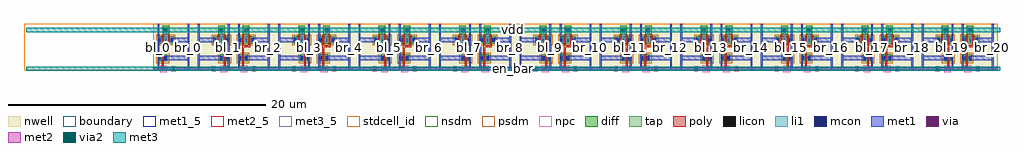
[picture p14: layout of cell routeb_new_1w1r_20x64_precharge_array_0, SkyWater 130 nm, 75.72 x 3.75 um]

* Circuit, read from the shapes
.subckt routeb_new_1w1r_20x64_precharge_array_0 bl_0 bl_1 bl_10 bl_11 bl_12 bl_13 bl_14 bl_15 bl_16 bl_17 bl_18 bl_19 bl_2 bl_20 bl_3 bl_4 bl_5 bl_6 bl_7 bl_8 bl_9 br_0 br_1 br_10 br_11 br_12 br_13 br_14 br_15 br_16 br_17 br_18 br_19 br_2 br_20 br_3 br_4 br_5 br_6 br_7 br_8 br_9 en_bar vdd
XM1 br_0 en_bar bl_0 vdd sky130_fd_pr__pfet_01v8 w=0.55 l=0.15
XM2 vdd en_bar bl_0 vdd sky130_fd_pr__pfet_01v8 w=0.55 l=0.15
XM3 br_0 en_bar vdd vdd sky130_fd_pr__pfet_01v8 w=0.55 l=0.15
XM4 vdd en_bar br_1 vdd sky130_fd_pr__pfet_01v8 w=0.55 l=0.15
XM5 bl_1 en_bar br_1 vdd sky130_fd_pr__pfet_01v8 w=0.55 l=0.15
XM6 bl_1 en_bar vdd vdd sky130_fd_pr__pfet_01v8 w=0.55 l=0.15
XM7 br_2 en_bar bl_2 vdd sky130_fd_pr__pfet_01v8 w=0.55 l=0.15
XM8 vdd en_bar bl_2 vdd sky130_fd_pr__pfet_01v8 w=0.55 l=0.15
XM9 br_2 en_bar vdd vdd sky130_fd_pr__pfet_01v8 w=0.55 l=0.15
XM10 vdd en_bar br_3 vdd sky130_fd_pr__pfet_01v8 w=0.55 l=0.15
XM11 bl_3 en_bar br_3 vdd sky130_fd_pr__pfet_01v8 w=0.55 l=0.15
XM12 bl_3 en_bar vdd vdd sky130_fd_pr__pfet_01v8 w=0.55 l=0.15
XM13 br_4 en_bar bl_4 vdd sky130_fd_pr__pfet_01v8 w=0.55 l=0.15
XM14 vdd en_bar bl_4 vdd sky130_fd_pr__pfet_01v8 w=0.55 l=0.15
XM15 br_4 en_bar vdd vdd sky130_fd_pr__pfet_01v8 w=0.55 l=0.15
XM16 vdd en_bar br_5 vdd sky130_fd_pr__pfet_01v8 w=0.55 l=0.15
XM17 bl_5 en_bar br_5 vdd sky130_fd_pr__pfet_01v8 w=0.55 l=0.15
XM18 bl_5 en_bar vdd vdd sky130_fd_pr__pfet_01v8 w=0.55 l=0.15
XM19 br_6 en_bar bl_6 vdd sky130_fd_pr__pfet_01v8 w=0.55 l=0.15
XM20 vdd en_bar bl_6 vdd sky130_fd_pr__pfet_01v8 w=0.55 l=0.15
XM21 br_6 en_bar vdd vdd sky130_fd_pr__pfet_01v8 w=0.55 l=0.15
XM22 vdd en_bar br_7 vdd sky130_fd_pr__pfet_01v8 w=0.55 l=0.15
XM23 bl_7 en_bar br_7 vdd sky130_fd_pr__pfet_01v8 w=0.55 l=0.15
XM24 bl_7 en_bar vdd vdd sky130_fd_pr__pfet_01v8 w=0.55 l=0.15
XM25 br_8 en_bar bl_8 vdd sky130_fd_pr__pfet_01v8 w=0.55 l=0.15
XM26 vdd en_bar bl_8 vdd sky130_fd_pr__pfet_01v8 w=0.55 l=0.15
XM27 br_8 en_bar vdd vdd sky130_fd_pr__pfet_01v8 w=0.55 l=0.15
XM28 vdd en_bar br_9 vdd sky130_fd_pr__pfet_01v8 w=0.55 l=0.15
XM29 bl_9 en_bar br_9 vdd sky130_fd_pr__pfet_01v8 w=0.55 l=0.15
XM30 bl_9 en_bar vdd vdd sky130_fd_pr__pfet_01v8 w=0.55 l=0.15
XM31 br_10 en_bar bl_10 vdd sky130_fd_pr__pfet_01v8 w=0.55 l=0.15
XM32 vdd en_bar bl_10 vdd sky130_fd_pr__pfet_01v8 w=0.55 l=0.15
XM33 br_10 en_bar vdd vdd sky130_fd_pr__pfet_01v8 w=0.55 l=0.15
XM34 vdd en_bar br_11 vdd sky130_fd_pr__pfet_01v8 w=0.55 l=0.15
XM35 bl_11 en_bar br_11 vdd sky130_fd_pr__pfet_01v8 w=0.55 l=0.15
XM36 bl_11 en_bar vdd vdd sky130_fd_pr__pfet_01v8 w=0.55 l=0.15
XM37 br_12 en_bar bl_12 vdd sky130_fd_pr__pfet_01v8 w=0.55 l=0.15
XM38 vdd en_bar bl_12 vdd sky130_fd_pr__pfet_01v8 w=0.55 l=0.15
XM39 br_12 en_bar vdd vdd sky130_fd_pr__pfet_01v8 w=0.55 l=0.15
XM40 vdd en_bar br_13 vdd sky130_fd_pr__pfet_01v8 w=0.55 l=0.15
XM41 bl_13 en_bar br_13 vdd sky130_fd_pr__pfet_01v8 w=0.55 l=0.15
XM42 bl_13 en_bar vdd vdd sky130_fd_pr__pfet_01v8 w=0.55 l=0.15
XM43 br_14 en_bar bl_14 vdd sky130_fd_pr__pfet_01v8 w=0.55 l=0.15
XM44 vdd en_bar bl_14 vdd sky130_fd_pr__pfet_01v8 w=0.55 l=0.15
XM45 br_14 en_bar vdd vdd sky130_fd_pr__pfet_01v8 w=0.55 l=0.15
XM46 vdd en_bar br_15 vdd sky130_fd_pr__pfet_01v8 w=0.55 l=0.15
XM47 bl_15 en_bar br_15 vdd sky130_fd_pr__pfet_01v8 w=0.55 l=0.15
XM48 bl_15 en_bar vdd vdd sky130_fd_pr__pfet_01v8 w=0.55 l=0.15
XM49 br_16 en_bar bl_16 vdd sky130_fd_pr__pfet_01v8 w=0.55 l=0.15
XM50 vdd en_bar bl_16 vdd sky130_fd_pr__pfet_01v8 w=0.55 l=0.15
XM51 br_16 en_bar vdd vdd sky130_fd_pr__pfet_01v8 w=0.55 l=0.15
XM52 vdd en_bar br_17 vdd sky130_fd_pr__pfet_01v8 w=0.55 l=0.15
XM53 bl_17 en_bar br_17 vdd sky130_fd_pr__pfet_01v8 w=0.55 l=0.15
XM54 bl_17 en_bar vdd vdd sky130_fd_pr__pfet_01v8 w=0.55 l=0.15
XM55 br_18 en_bar bl_18 vdd sky130_fd_pr__pfet_01v8 w=0.55 l=0.15
XM56 vdd en_bar bl_18 vdd sky130_fd_pr__pfet_01v8 w=0.55 l=0.15
XM57 br_18 en_bar vdd vdd sky130_fd_pr__pfet_01v8 w=0.55 l=0.15
XM58 vdd en_bar br_19 vdd sky130_fd_pr__pfet_01v8 w=0.55 l=0.15
XM59 bl_19 en_bar br_19 vdd sky130_fd_pr__pfet_01v8 w=0.55 l=0.15
XM60 bl_19 en_bar vdd vdd sky130_fd_pr__pfet_01v8 w=0.55 l=0.15
XM61 br_20 en_bar bl_20 vdd sky130_fd_pr__pfet_01v8 w=0.55 l=0.15
XM62 vdd en_bar bl_20 vdd sky130_fd_pr__pfet_01v8 w=0.55 l=0.15
XM63 br_20 en_bar vdd vdd sky130_fd_pr__pfet_01v8 w=0.55 l=0.15
.ends

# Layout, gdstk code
from math import pi, radians
import gdstk
lib = gdstk.Library(unit=1e-6, precision=1e-09)
def R(c, l, rs):  # rectangles x0, y0, x1, y1
    for r in rs: c.add(gdstk.rectangle(r[:2], r[2:], *l))
def A(c, l, x, y, w, h, nx, ny, dx, dy):  # array of equal rectangles
    R(c, l, [(x+i*dx, y+j*dy, x+i*dx+w, y+j*dy+h) for i in range(nx) for j in range(ny)])
nwell = (64, 20)
diff = (65, 20)
tap = (65, 44)
poly = (66, 20)
licon = (66, 44)
li1 = (67, 20)
mcon = (67, 44)
met1_5 = (68, 5)
met1 = (68, 20)
via = (68, 44)
met2_5 = (69, 5)
met2 = (69, 20)
via2 = (69, 44)
met3_5 = (70, 5)
met3 = (70, 20)
stdcell_id = (81, 4)
nsdm = (93, 44)
psdm = (94, 20)
npc = (95, 20)
boundary = (235, 4)

routeb_new_1w1r_20x64_co = lib.new_cell('routeb_new_1w1r_20x64_contact_11')
R(routeb_new_1w1r_20x64_co, nwell, [(-0.295,-0.255,0.545,0.585)])
R(routeb_new_1w1r_20x64_co, diff, [(0,0.02,0.25,0.31)])
R(routeb_new_1w1r_20x64_co, licon, [(0.04,0.08,0.21,0.25)])
R(routeb_new_1w1r_20x64_co, li1, [(0.04,0,0.21,0.33)])
R(routeb_new_1w1r_20x64_co, stdcell_id, [(-0.295,-0.255,0.545,0.585)])
R(routeb_new_1w1r_20x64_co, psdm, [(-0.125,-0.105,0.375,0.435)])
R(routeb_new_1w1r_20x64_co, boundary, [(-0.295,-0.255,0.545,0.585)])

routeb_new_1w1r_20x64_pm = lib.new_cell('routeb_new_1w1r_20x64_pmos_m1_w0_550_sli_dli')
R(routeb_new_1w1r_20x64_pm, nwell, [(-0.27,-0.27,1.02,0.82)])
R(routeb_new_1w1r_20x64_pm, diff, [(0,0,0.75,0.55)])
R(routeb_new_1w1r_20x64_pm, poly, [(0.3,-0.13,0.45,0.68), (0.3,-0.13,0.45,0.68)])
R(routeb_new_1w1r_20x64_pm, li1, [(0.04,0.11,0.21,0.44), (0.54,0.11,0.71,0.44)])
R(routeb_new_1w1r_20x64_pm, stdcell_id, [(-0.27,-0.27,1.02,0.82)])
R(routeb_new_1w1r_20x64_pm, psdm, [(-0.125,-0.125,0.875,0.675)])
R(routeb_new_1w1r_20x64_pm, boundary, [(-0.27,-0.27,1.02,0.82)])
routeb_new_1w1r_20x64_pm.add(gdstk.Reference(routeb_new_1w1r_20x64_co, (0,0.11)))
routeb_new_1w1r_20x64_pm.add(gdstk.Reference(routeb_new_1w1r_20x64_co, (0.5,0.11)))
routeb_new_1w1r_20x64_pm.add(gdstk.Label('G', (0.375,0.275), layer=66, texttype=5))
routeb_new_1w1r_20x64_pm.add(gdstk.Label('S', (0.125,0.275), layer=67, texttype=5))
routeb_new_1w1r_20x64_pm.add(gdstk.Label('D', (0.625,0.275), layer=67, texttype=5))

c_routeb_new_1w1r_20x64_co = lib.new_cell('routeb_new_1w1r_20x64_contact_15')
R(c_routeb_new_1w1r_20x64_co, poly, [(0,0,0.33,0.33)])
R(c_routeb_new_1w1r_20x64_co, licon, [(0.08,0.08,0.25,0.25)])
R(c_routeb_new_1w1r_20x64_co, li1, [(0.08,0,0.25,0.33)])
R(c_routeb_new_1w1r_20x64_co, stdcell_id, [(-0.1,-0.1,0.43,0.43)])
R(c_routeb_new_1w1r_20x64_co, npc, [(-0.1,-0.1,0.43,0.43)])
R(c_routeb_new_1w1r_20x64_co, boundary, [(-0.1,-0.1,0.43,0.43)])

c_routeb_new_1w1r_20x64_co_ = lib.new_cell('routeb_new_1w1r_20x64_contact_13')
R(c_routeb_new_1w1r_20x64_co_, li1, [(0.06,0,0.23,0.33)])
R(c_routeb_new_1w1r_20x64_co_, mcon, [(0.06,0.08,0.23,0.25)])
R(c_routeb_new_1w1r_20x64_co_, met1, [(0,0.05,0.29,0.28)])
R(c_routeb_new_1w1r_20x64_co_, stdcell_id, [(0,0,0.29,0.33)])
R(c_routeb_new_1w1r_20x64_co_, boundary, [(0,0,0.29,0.33)])

c_routeb_new_1w1r_20x64_co__ = lib.new_cell('routeb_new_1w1r_20x64_contact_18')
R(c_routeb_new_1w1r_20x64_co__, met1, [(0,0.03,0.32,0.29)])
R(c_routeb_new_1w1r_20x64_co__, via, [(0.085,0.085,0.235,0.235)])
R(c_routeb_new_1w1r_20x64_co__, met2, [(0.03,0,0.29,0.32)])
R(c_routeb_new_1w1r_20x64_co__, stdcell_id, [(0,0,0.32,0.32)])
R(c_routeb_new_1w1r_20x64_co__, boundary, [(0,0,0.32,0.32)])

c_routeb_new_1w1r_20x64_co___ = lib.new_cell('routeb_new_1w1r_20x64_contact_12')
R(c_routeb_new_1w1r_20x64_co___, nwell, [(-0.295,-0.215,0.545,0.625)])
R(c_routeb_new_1w1r_20x64_co___, tap, [(0,0,0.25,0.41)])
R(c_routeb_new_1w1r_20x64_co___, licon, [(0.04,0.12,0.21,0.29)])
R(c_routeb_new_1w1r_20x64_co___, li1, [(0.04,0.04,0.21,0.37)])
R(c_routeb_new_1w1r_20x64_co___, stdcell_id, [(-0.295,-0.215,0.545,0.625)])
R(c_routeb_new_1w1r_20x64_co___, nsdm, [(-0.125,-0.125,0.375,0.535)])
R(c_routeb_new_1w1r_20x64_co___, boundary, [(-0.295,-0.215,0.545,0.625)])

c_routeb_new_1w1r_20x64_co____ = lib.new_cell('routeb_new_1w1r_20x64_contact_23')
R(c_routeb_new_1w1r_20x64_co____, li1, [(0.03,0,0.2,0.33)])
R(c_routeb_new_1w1r_20x64_co____, mcon, [(0.03,0.08,0.2,0.25)])
R(c_routeb_new_1w1r_20x64_co____, met1, [(0,0.02,0.23,0.31)])
R(c_routeb_new_1w1r_20x64_co____, stdcell_id, [(0,0,0.23,0.33)])
R(c_routeb_new_1w1r_20x64_co____, boundary, [(0,0,0.23,0.33)])

routeb_new_1w1r_20x64_pr = lib.new_cell('routeb_new_1w1r_20x64_precharge_1')
R(routeb_new_1w1r_20x64_pr, nwell, [(0,0,3.12,3.61)])
R(routeb_new_1w1r_20x64_pr, poly, [(0.64,0.05,0.79,0.2), (0.715,0.05,0.79,0.2), (0.64,0.125,0.79,0.56), (0.64,1.37,0.79,1.95), (0.64,1.8,1.29,1.95)])
R(routeb_new_1w1r_20x64_pr, li1, [(0.88,2.355,1.05,3.14), (0.88,3.055,1.05,3.225)])
R(routeb_new_1w1r_20x64_pr, met1_5, [(0.33,0,0.47,3.61), (2.65,0,2.79,3.61)])
R(routeb_new_1w1r_20x64_pr, met1, [(0.63,-0.005,0.95,0.255), (0.33,0,0.47,3.61), (0.33,0,0.47,3.61), (2.65,0,2.79,3.61), (2.65,0,2.79,3.61), (0.4,0.8,0.465,1.13), (0.965,0.8,2.72,1.13), (0.4,2.19,0.465,2.52), (1.465,2.19,2.72,2.52)])
R(routeb_new_1w1r_20x64_pr, met2_5, [(0,0.055,3.12,0.195)])
R(routeb_new_1w1r_20x64_pr, met2, [(0,0.055,3.12,0.195)])
R(routeb_new_1w1r_20x64_pr, stdcell_id, [(0,0,3.12,3.61)])
R(routeb_new_1w1r_20x64_pr, boundary, [(0,0,3.12,3.61)])
routeb_new_1w1r_20x64_pr.add(gdstk.Reference(routeb_new_1w1r_20x64_pm, (0.34,0.69)))
routeb_new_1w1r_20x64_pr.add(gdstk.Reference(routeb_new_1w1r_20x64_pm, (0.34,2.08)))
routeb_new_1w1r_20x64_pr.add(gdstk.Reference(routeb_new_1w1r_20x64_pm, (0.84,2.08)))
routeb_new_1w1r_20x64_pr.add(gdstk.Reference(c_routeb_new_1w1r_20x64_co, (0.625,-0.04)))
routeb_new_1w1r_20x64_pr.add(gdstk.Reference(c_routeb_new_1w1r_20x64_co_, (0.645,-0.04)))
routeb_new_1w1r_20x64_pr.add(gdstk.Reference(c_routeb_new_1w1r_20x64_co__, (0.63,-0.035)))
routeb_new_1w1r_20x64_pr.add(gdstk.Reference(c_routeb_new_1w1r_20x64_co___, (0.84,2.935)))
routeb_new_1w1r_20x64_pr.add(gdstk.Reference(c_routeb_new_1w1r_20x64_co_, (0.82,2.975)))
routeb_new_1w1r_20x64_pr.add(gdstk.Reference(c_routeb_new_1w1r_20x64_co____, (0.35,0.8)))
routeb_new_1w1r_20x64_pr.add(gdstk.Reference(c_routeb_new_1w1r_20x64_co____, (0.85,0.8)))
routeb_new_1w1r_20x64_pr.add(gdstk.Reference(c_routeb_new_1w1r_20x64_co____, (0.35,2.19)))
routeb_new_1w1r_20x64_pr.add(gdstk.Reference(c_routeb_new_1w1r_20x64_co____, (1.35,2.19)))
routeb_new_1w1r_20x64_pr.add(gdstk.Label('en_bar', (1.56,0.125), layer=69, texttype=5))
routeb_new_1w1r_20x64_pr.add(gdstk.Label('vdd', (0.965,3.14), layer=67, texttype=5))
routeb_new_1w1r_20x64_pr.add(gdstk.Label('bl', (0.4,1.805), layer=68, texttype=5))
routeb_new_1w1r_20x64_pr.add(gdstk.Label('br', (2.72,1.805), layer=68, texttype=5))

c_routeb_new_1w1r_20x64_co_____ = lib.new_cell('routeb_new_1w1r_20x64_contact_21')
R(c_routeb_new_1w1r_20x64_co_____, met2, [(0.025,0,0.305,0.37)])
R(c_routeb_new_1w1r_20x64_co_____, via2, [(0.065,0.085,0.265,0.285)])
R(c_routeb_new_1w1r_20x64_co_____, met3, [(0,0.02,0.33,0.35)])
R(c_routeb_new_1w1r_20x64_co_____, stdcell_id, [(0,0,0.33,0.37)])
R(c_routeb_new_1w1r_20x64_co_____, boundary, [(0,0,0.33,0.37)])

c_routeb_new_1w1r_20x64_pr = lib.new_cell('routeb_new_1w1r_20x64_precharge_array_0')
R(c_routeb_new_1w1r_20x64_pr, met1_5, [(10.365,0,10.505,3.61), (12.685,0,12.825,3.61), (13.485,0,13.625,3.61), (15.805,0,15.945,3.61), (16.605,0,16.745,3.61), (18.925,0,19.065,3.61), (19.725,0,19.865,3.61), (22.045,0,22.185,3.61), (22.845,0,22.985,3.61), (25.165,0,25.305,3.61), (25.965,0,26.105,3.61), (28.285,0,28.425,3.61), (29.085,0,29.225,3.61), (31.405,0,31.545,3.61), (32.205,0,32.345,3.61), (34.525,0,34.665,3.61), (35.325,0,35.465,3.61), (37.645,0,37.785,3.61), (38.445,0,38.585,3.61), (40.765,0,40.905,3.61), (41.565,0,41.705,3.61), (43.885,0,44.025,3.61), (44.685,0,44.825,3.61), (47.005,0,47.145,3.61), (47.805,0,47.945,3.61), (50.125,0,50.265,3.61), (50.925,0,51.065,3.61), (53.245,0,53.385,3.61), (54.045,0,54.185,3.61), (56.365,0,56.505,3.61), (57.165,0,57.305,3.61), (59.485,0,59.625,3.61), (60.285,0,60.425,3.61), (62.605,0,62.745,3.61), (63.405,0,63.545,3.61), (65.725,0,65.865,3.61), (66.525,0,66.665,3.61), (68.845,0,68.985,3.61), (69.645,0,69.785,3.61), (71.965,0,72.105,3.61), (72.765,0,72.905,3.61), (75.085,0,75.225,3.61)])
R(c_routeb_new_1w1r_20x64_pr, met1, [(10.365,0,10.505,3.61), (12.685,0,12.825,3.61), (13.485,0,13.625,3.61), (15.805,0,15.945,3.61), (16.605,0,16.745,3.61), (18.925,0,19.065,3.61), (19.725,0,19.865,3.61), (22.045,0,22.185,3.61), (22.845,0,22.985,3.61), (25.165,0,25.305,3.61), (25.965,0,26.105,3.61), (28.285,0,28.425,3.61), (29.085,0,29.225,3.61), (31.405,0,31.545,3.61), (32.205,0,32.345,3.61), (34.525,0,34.665,3.61), (35.325,0,35.465,3.61), (37.645,0,37.785,3.61), (38.445,0,38.585,3.61), (40.765,0,40.905,3.61), (41.565,0,41.705,3.61), (43.885,0,44.025,3.61), (44.685,0,44.825,3.61), (47.005,0,47.145,3.61), (47.805,0,47.945,3.61), (50.125,0,50.265,3.61), (50.925,0,51.065,3.61), (53.245,0,53.385,3.61), (54.045,0,54.185,3.61), (56.365,0,56.505,3.61), (57.165,0,57.305,3.61), (59.485,0,59.625,3.61), (60.285,0,60.425,3.61), (62.605,0,62.745,3.61), (63.405,0,63.545,3.61), (65.725,0,65.865,3.61), (66.525,0,66.665,3.61), (68.845,0,68.985,3.61), (69.645,0,69.785,3.61), (71.965,0,72.105,3.61), (72.765,0,72.905,3.61), (75.085,0,75.225,3.61), (10.84,3.01,11.16,3.27), (15.15,3.01,15.47,3.27), (17.08,3.01,17.4,3.27), (21.39,3.01,21.71,3.27), (23.32,3.01,23.64,3.27), (27.63,3.01,27.95,3.27), (29.56,3.01,29.88,3.27), (33.87,3.01,34.19,3.27), (35.8,3.01,36.12,3.27), (40.11,3.01,40.43,3.27), (42.04,3.01,42.36,3.27), (46.35,3.01,46.67,3.27), (48.28,3.01,48.6,3.27), (52.59,3.01,52.91,3.27), (54.52,3.01,54.84,3.27), (58.83,3.01,59.15,3.27), (60.76,3.01,61.08,3.27), (65.07,3.01,65.39,3.27), (67,3.01,67.32,3.27), (71.31,3.01,71.63,3.27), (73.24,3.01,73.56,3.27)])
A(c_routeb_new_1w1r_20x64_pr, met2, 11.455, 0, 0.28, 0.245, 21, 1, 3.12, 0)
R(c_routeb_new_1w1r_20x64_pr, met2, [(10.86,3.02,11.14,3.265), (15.17,3.02,15.45,3.265), (17.1,3.02,17.38,3.265), (21.41,3.02,21.69,3.265), (23.34,3.02,23.62,3.265), (27.65,3.02,27.93,3.265), (29.58,3.02,29.86,3.265), (33.89,3.02,34.17,3.265), (35.82,3.02,36.1,3.265), (40.13,3.02,40.41,3.265), (42.06,3.02,42.34,3.265), (46.37,3.02,46.65,3.265), (48.3,3.02,48.58,3.265), (52.61,3.02,52.89,3.265), (54.54,3.02,54.82,3.265), (58.85,3.02,59.13,3.265), (60.78,3.02,61.06,3.265), (65.09,3.02,65.37,3.265), (67.02,3.02,67.3,3.265), (71.33,3.02,71.61,3.265), (73.26,3.02,73.54,3.265)])
R(c_routeb_new_1w1r_20x64_pr, met3_5, [(0.165,-0.04,75.72,0.29), (0.165,2.975,75.72,3.305)])
R(c_routeb_new_1w1r_20x64_pr, met3, [(0.165,-0.04,75.72,0.29), (0.165,2.975,75.72,3.305)])
R(c_routeb_new_1w1r_20x64_pr, stdcell_id, [(0,0,75.555,3.61)])
R(c_routeb_new_1w1r_20x64_pr, boundary, [(0,0,75.555,3.61)])
c_routeb_new_1w1r_20x64_pr.add(gdstk.Reference(routeb_new_1w1r_20x64_pr, (10.035,0)))
c_routeb_new_1w1r_20x64_pr.add(gdstk.Reference(routeb_new_1w1r_20x64_pr, (16.275,0), rotation=pi, x_reflection=True))
c_routeb_new_1w1r_20x64_pr.add(gdstk.Reference(routeb_new_1w1r_20x64_pr, (16.275,0)))
c_routeb_new_1w1r_20x64_pr.add(gdstk.Reference(routeb_new_1w1r_20x64_pr, (22.515,0), rotation=pi, x_reflection=True))
c_routeb_new_1w1r_20x64_pr.add(gdstk.Reference(routeb_new_1w1r_20x64_pr, (22.515,0)))
c_routeb_new_1w1r_20x64_pr.add(gdstk.Reference(routeb_new_1w1r_20x64_pr, (28.755,0), rotation=pi, x_reflection=True))
c_routeb_new_1w1r_20x64_pr.add(gdstk.Reference(routeb_new_1w1r_20x64_pr, (28.755,0)))
c_routeb_new_1w1r_20x64_pr.add(gdstk.Reference(routeb_new_1w1r_20x64_pr, (34.995,0), rotation=pi, x_reflection=True))
c_routeb_new_1w1r_20x64_pr.add(gdstk.Reference(routeb_new_1w1r_20x64_pr, (34.995,0)))
c_routeb_new_1w1r_20x64_pr.add(gdstk.Reference(routeb_new_1w1r_20x64_pr, (41.235,0), rotation=pi, x_reflection=True))
c_routeb_new_1w1r_20x64_pr.add(gdstk.Reference(routeb_new_1w1r_20x64_pr, (41.235,0)))
c_routeb_new_1w1r_20x64_pr.add(gdstk.Reference(routeb_new_1w1r_20x64_pr, (47.475,0), rotation=pi, x_reflection=True))
c_routeb_new_1w1r_20x64_pr.add(gdstk.Reference(routeb_new_1w1r_20x64_pr, (47.475,0)))
c_routeb_new_1w1r_20x64_pr.add(gdstk.Reference(routeb_new_1w1r_20x64_pr, (53.715,0), rotation=pi, x_reflection=True))
c_routeb_new_1w1r_20x64_pr.add(gdstk.Reference(routeb_new_1w1r_20x64_pr, (53.715,0)))
c_routeb_new_1w1r_20x64_pr.add(gdstk.Reference(routeb_new_1w1r_20x64_pr, (59.955,0), rotation=pi, x_reflection=True))
c_routeb_new_1w1r_20x64_pr.add(gdstk.Reference(routeb_new_1w1r_20x64_pr, (59.955,0)))
c_routeb_new_1w1r_20x64_pr.add(gdstk.Reference(routeb_new_1w1r_20x64_pr, (66.195,0), rotation=pi, x_reflection=True))
c_routeb_new_1w1r_20x64_pr.add(gdstk.Reference(routeb_new_1w1r_20x64_pr, (66.195,0)))
c_routeb_new_1w1r_20x64_pr.add(gdstk.Reference(routeb_new_1w1r_20x64_pr, (72.435,0), rotation=pi, x_reflection=True))
c_routeb_new_1w1r_20x64_pr.add(gdstk.Reference(routeb_new_1w1r_20x64_pr, (72.435,0)))
c_routeb_new_1w1r_20x64_pr.add(gdstk.Reference(c_routeb_new_1w1r_20x64_co_____, (11.43,-0.06)))
c_routeb_new_1w1r_20x64_pr.add(gdstk.Reference(c_routeb_new_1w1r_20x64_co_____, (14.55,-0.06)))
c_routeb_new_1w1r_20x64_pr.add(gdstk.Reference(c_routeb_new_1w1r_20x64_co_____, (17.67,-0.06)))
c_routeb_new_1w1r_20x64_pr.add(gdstk.Reference(c_routeb_new_1w1r_20x64_co_____, (20.79,-0.06)))
c_routeb_new_1w1r_20x64_pr.add(gdstk.Reference(c_routeb_new_1w1r_20x64_co_____, (23.91,-0.06)))
c_routeb_new_1w1r_20x64_pr.add(gdstk.Reference(c_routeb_new_1w1r_20x64_co_____, (27.03,-0.06)))
c_routeb_new_1w1r_20x64_pr.add(gdstk.Reference(c_routeb_new_1w1r_20x64_co_____, (30.15,-0.06)))
c_routeb_new_1w1r_20x64_pr.add(gdstk.Reference(c_routeb_new_1w1r_20x64_co_____, (33.27,-0.06)))
c_routeb_new_1w1r_20x64_pr.add(gdstk.Reference(c_routeb_new_1w1r_20x64_co_____, (36.39,-0.06)))
c_routeb_new_1w1r_20x64_pr.add(gdstk.Reference(c_routeb_new_1w1r_20x64_co_____, (39.51,-0.06)))
c_routeb_new_1w1r_20x64_pr.add(gdstk.Reference(c_routeb_new_1w1r_20x64_co_____, (42.63,-0.06)))
c_routeb_new_1w1r_20x64_pr.add(gdstk.Reference(c_routeb_new_1w1r_20x64_co_____, (45.75,-0.06)))
c_routeb_new_1w1r_20x64_pr.add(gdstk.Reference(c_routeb_new_1w1r_20x64_co_____, (48.87,-0.06)))
c_routeb_new_1w1r_20x64_pr.add(gdstk.Reference(c_routeb_new_1w1r_20x64_co_____, (51.99,-0.06)))
c_routeb_new_1w1r_20x64_pr.add(gdstk.Reference(c_routeb_new_1w1r_20x64_co_____, (55.11,-0.06)))
c_routeb_new_1w1r_20x64_pr.add(gdstk.Reference(c_routeb_new_1w1r_20x64_co_____, (58.23,-0.06)))
c_routeb_new_1w1r_20x64_pr.add(gdstk.Reference(c_routeb_new_1w1r_20x64_co_____, (61.35,-0.06)))
c_routeb_new_1w1r_20x64_pr.add(gdstk.Reference(c_routeb_new_1w1r_20x64_co_____, (64.47,-0.06)))
c_routeb_new_1w1r_20x64_pr.add(gdstk.Reference(c_routeb_new_1w1r_20x64_co_____, (67.59,-0.06)))
c_routeb_new_1w1r_20x64_pr.add(gdstk.Reference(c_routeb_new_1w1r_20x64_co_____, (70.71,-0.06)))
c_routeb_new_1w1r_20x64_pr.add(gdstk.Reference(c_routeb_new_1w1r_20x64_co_____, (73.83,-0.06)))
c_routeb_new_1w1r_20x64_pr.add(gdstk.Reference(c_routeb_new_1w1r_20x64_co_____, (11.43,-0.06)))
c_routeb_new_1w1r_20x64_pr.add(gdstk.Reference(c_routeb_new_1w1r_20x64_co_____, (14.55,-0.06)))
c_routeb_new_1w1r_20x64_pr.add(gdstk.Reference(c_routeb_new_1w1r_20x64_co_____, (17.67,-0.06)))
c_routeb_new_1w1r_20x64_pr.add(gdstk.Reference(c_routeb_new_1w1r_20x64_co_____, (20.79,-0.06)))
c_routeb_new_1w1r_20x64_pr.add(gdstk.Reference(c_routeb_new_1w1r_20x64_co_____, (23.91,-0.06)))
c_routeb_new_1w1r_20x64_pr.add(gdstk.Reference(c_routeb_new_1w1r_20x64_co_____, (27.03,-0.06)))
c_routeb_new_1w1r_20x64_pr.add(gdstk.Reference(c_routeb_new_1w1r_20x64_co_____, (30.15,-0.06)))
c_routeb_new_1w1r_20x64_pr.add(gdstk.Reference(c_routeb_new_1w1r_20x64_co_____, (33.27,-0.06)))
c_routeb_new_1w1r_20x64_pr.add(gdstk.Reference(c_routeb_new_1w1r_20x64_co_____, (36.39,-0.06)))
c_routeb_new_1w1r_20x64_pr.add(gdstk.Reference(c_routeb_new_1w1r_20x64_co_____, (39.51,-0.06)))
c_routeb_new_1w1r_20x64_pr.add(gdstk.Reference(c_routeb_new_1w1r_20x64_co_____, (42.63,-0.06)))
c_routeb_new_1w1r_20x64_pr.add(gdstk.Reference(c_routeb_new_1w1r_20x64_co_____, (45.75,-0.06)))
c_routeb_new_1w1r_20x64_pr.add(gdstk.Reference(c_routeb_new_1w1r_20x64_co_____, (48.87,-0.06)))
c_routeb_new_1w1r_20x64_pr.add(gdstk.Reference(c_routeb_new_1w1r_20x64_co_____, (51.99,-0.06)))
c_routeb_new_1w1r_20x64_pr.add(gdstk.Reference(c_routeb_new_1w1r_20x64_co_____, (55.11,-0.06)))
c_routeb_new_1w1r_20x64_pr.add(gdstk.Reference(c_routeb_new_1w1r_20x64_co_____, (58.23,-0.06)))
c_routeb_new_1w1r_20x64_pr.add(gdstk.Reference(c_routeb_new_1w1r_20x64_co_____, (61.35,-0.06)))
c_routeb_new_1w1r_20x64_pr.add(gdstk.Reference(c_routeb_new_1w1r_20x64_co_____, (64.47,-0.06)))
c_routeb_new_1w1r_20x64_pr.add(gdstk.Reference(c_routeb_new_1w1r_20x64_co_____, (67.59,-0.06)))
c_routeb_new_1w1r_20x64_pr.add(gdstk.Reference(c_routeb_new_1w1r_20x64_co_____, (70.71,-0.06)))
c_routeb_new_1w1r_20x64_pr.add(gdstk.Reference(c_routeb_new_1w1r_20x64_co_____, (73.83,-0.06)))
c_routeb_new_1w1r_20x64_pr.add(gdstk.Reference(c_routeb_new_1w1r_20x64_co_, (10.855,2.975)))
c_routeb_new_1w1r_20x64_pr.add(gdstk.Reference(c_routeb_new_1w1r_20x64_co__, (10.84,2.98)))
c_routeb_new_1w1r_20x64_pr.add(gdstk.Reference(c_routeb_new_1w1r_20x64_co_____, (10.835,2.955)))
c_routeb_new_1w1r_20x64_pr.add(gdstk.Reference(c_routeb_new_1w1r_20x64_co_, (15.165,2.975)))
c_routeb_new_1w1r_20x64_pr.add(gdstk.Reference(c_routeb_new_1w1r_20x64_co__, (15.15,2.98)))
c_routeb_new_1w1r_20x64_pr.add(gdstk.Reference(c_routeb_new_1w1r_20x64_co_____, (15.145,2.955)))
c_routeb_new_1w1r_20x64_pr.add(gdstk.Reference(c_routeb_new_1w1r_20x64_co_, (17.095,2.975)))
c_routeb_new_1w1r_20x64_pr.add(gdstk.Reference(c_routeb_new_1w1r_20x64_co__, (17.08,2.98)))
c_routeb_new_1w1r_20x64_pr.add(gdstk.Reference(c_routeb_new_1w1r_20x64_co_____, (17.075,2.955)))
c_routeb_new_1w1r_20x64_pr.add(gdstk.Reference(c_routeb_new_1w1r_20x64_co_, (21.405,2.975)))
c_routeb_new_1w1r_20x64_pr.add(gdstk.Reference(c_routeb_new_1w1r_20x64_co__, (21.39,2.98)))
c_routeb_new_1w1r_20x64_pr.add(gdstk.Reference(c_routeb_new_1w1r_20x64_co_____, (21.385,2.955)))
c_routeb_new_1w1r_20x64_pr.add(gdstk.Reference(c_routeb_new_1w1r_20x64_co_, (23.335,2.975)))
c_routeb_new_1w1r_20x64_pr.add(gdstk.Reference(c_routeb_new_1w1r_20x64_co__, (23.32,2.98)))
c_routeb_new_1w1r_20x64_pr.add(gdstk.Reference(c_routeb_new_1w1r_20x64_co_____, (23.315,2.955)))
c_routeb_new_1w1r_20x64_pr.add(gdstk.Reference(c_routeb_new_1w1r_20x64_co_, (27.645,2.975)))
c_routeb_new_1w1r_20x64_pr.add(gdstk.Reference(c_routeb_new_1w1r_20x64_co__, (27.63,2.98)))
c_routeb_new_1w1r_20x64_pr.add(gdstk.Reference(c_routeb_new_1w1r_20x64_co_____, (27.625,2.955)))
c_routeb_new_1w1r_20x64_pr.add(gdstk.Reference(c_routeb_new_1w1r_20x64_co_, (29.575,2.975)))
c_routeb_new_1w1r_20x64_pr.add(gdstk.Reference(c_routeb_new_1w1r_20x64_co__, (29.56,2.98)))
c_routeb_new_1w1r_20x64_pr.add(gdstk.Reference(c_routeb_new_1w1r_20x64_co_____, (29.555,2.955)))
c_routeb_new_1w1r_20x64_pr.add(gdstk.Reference(c_routeb_new_1w1r_20x64_co_, (33.885,2.975)))
c_routeb_new_1w1r_20x64_pr.add(gdstk.Reference(c_routeb_new_1w1r_20x64_co__, (33.87,2.98)))
c_routeb_new_1w1r_20x64_pr.add(gdstk.Reference(c_routeb_new_1w1r_20x64_co_____, (33.865,2.955)))
c_routeb_new_1w1r_20x64_pr.add(gdstk.Reference(c_routeb_new_1w1r_20x64_co_, (35.815,2.975)))
c_routeb_new_1w1r_20x64_pr.add(gdstk.Reference(c_routeb_new_1w1r_20x64_co__, (35.8,2.98)))
c_routeb_new_1w1r_20x64_pr.add(gdstk.Reference(c_routeb_new_1w1r_20x64_co_____, (35.795,2.955)))
c_routeb_new_1w1r_20x64_pr.add(gdstk.Reference(c_routeb_new_1w1r_20x64_co_, (40.125,2.975)))
c_routeb_new_1w1r_20x64_pr.add(gdstk.Reference(c_routeb_new_1w1r_20x64_co__, (40.11,2.98)))
c_routeb_new_1w1r_20x64_pr.add(gdstk.Reference(c_routeb_new_1w1r_20x64_co_____, (40.105,2.955)))
c_routeb_new_1w1r_20x64_pr.add(gdstk.Reference(c_routeb_new_1w1r_20x64_co_, (42.055,2.975)))
c_routeb_new_1w1r_20x64_pr.add(gdstk.Reference(c_routeb_new_1w1r_20x64_co__, (42.04,2.98)))
c_routeb_new_1w1r_20x64_pr.add(gdstk.Reference(c_routeb_new_1w1r_20x64_co_____, (42.035,2.955)))
c_routeb_new_1w1r_20x64_pr.add(gdstk.Reference(c_routeb_new_1w1r_20x64_co_, (46.365,2.975)))
c_routeb_new_1w1r_20x64_pr.add(gdstk.Reference(c_routeb_new_1w1r_20x64_co__, (46.35,2.98)))
c_routeb_new_1w1r_20x64_pr.add(gdstk.Reference(c_routeb_new_1w1r_20x64_co_____, (46.345,2.955)))
c_routeb_new_1w1r_20x64_pr.add(gdstk.Reference(c_routeb_new_1w1r_20x64_co_, (48.295,2.975)))
c_routeb_new_1w1r_20x64_pr.add(gdstk.Reference(c_routeb_new_1w1r_20x64_co__, (48.28,2.98)))
c_routeb_new_1w1r_20x64_pr.add(gdstk.Reference(c_routeb_new_1w1r_20x64_co_____, (48.275,2.955)))
c_routeb_new_1w1r_20x64_pr.add(gdstk.Reference(c_routeb_new_1w1r_20x64_co_, (52.605,2.975)))
c_routeb_new_1w1r_20x64_pr.add(gdstk.Reference(c_routeb_new_1w1r_20x64_co__, (52.59,2.98)))
c_routeb_new_1w1r_20x64_pr.add(gdstk.Reference(c_routeb_new_1w1r_20x64_co_____, (52.585,2.955)))
c_routeb_new_1w1r_20x64_pr.add(gdstk.Reference(c_routeb_new_1w1r_20x64_co_, (54.535,2.975)))
c_routeb_new_1w1r_20x64_pr.add(gdstk.Reference(c_routeb_new_1w1r_20x64_co__, (54.52,2.98)))
c_routeb_new_1w1r_20x64_pr.add(gdstk.Reference(c_routeb_new_1w1r_20x64_co_____, (54.515,2.955)))
c_routeb_new_1w1r_20x64_pr.add(gdstk.Reference(c_routeb_new_1w1r_20x64_co_, (58.845,2.975)))
c_routeb_new_1w1r_20x64_pr.add(gdstk.Reference(c_routeb_new_1w1r_20x64_co__, (58.83,2.98)))
c_routeb_new_1w1r_20x64_pr.add(gdstk.Reference(c_routeb_new_1w1r_20x64_co_____, (58.825,2.955)))
c_routeb_new_1w1r_20x64_pr.add(gdstk.Reference(c_routeb_new_1w1r_20x64_co_, (60.775,2.975)))
c_routeb_new_1w1r_20x64_pr.add(gdstk.Reference(c_routeb_new_1w1r_20x64_co__, (60.76,2.98)))
c_routeb_new_1w1r_20x64_pr.add(gdstk.Reference(c_routeb_new_1w1r_20x64_co_____, (60.755,2.955)))
c_routeb_new_1w1r_20x64_pr.add(gdstk.Reference(c_routeb_new_1w1r_20x64_co_, (65.085,2.975)))
c_routeb_new_1w1r_20x64_pr.add(gdstk.Reference(c_routeb_new_1w1r_20x64_co__, (65.07,2.98)))
c_routeb_new_1w1r_20x64_pr.add(gdstk.Reference(c_routeb_new_1w1r_20x64_co_____, (65.065,2.955)))
c_routeb_new_1w1r_20x64_pr.add(gdstk.Reference(c_routeb_new_1w1r_20x64_co_, (67.015,2.975)))
c_routeb_new_1w1r_20x64_pr.add(gdstk.Reference(c_routeb_new_1w1r_20x64_co__, (67,2.98)))
c_routeb_new_1w1r_20x64_pr.add(gdstk.Reference(c_routeb_new_1w1r_20x64_co_____, (66.995,2.955)))
c_routeb_new_1w1r_20x64_pr.add(gdstk.Reference(c_routeb_new_1w1r_20x64_co_, (71.325,2.975)))
c_routeb_new_1w1r_20x64_pr.add(gdstk.Reference(c_routeb_new_1w1r_20x64_co__, (71.31,2.98)))
c_routeb_new_1w1r_20x64_pr.add(gdstk.Reference(c_routeb_new_1w1r_20x64_co_____, (71.305,2.955)))
c_routeb_new_1w1r_20x64_pr.add(gdstk.Reference(c_routeb_new_1w1r_20x64_co_, (73.255,2.975)))
c_routeb_new_1w1r_20x64_pr.add(gdstk.Reference(c_routeb_new_1w1r_20x64_co__, (73.24,2.98)))
c_routeb_new_1w1r_20x64_pr.add(gdstk.Reference(c_routeb_new_1w1r_20x64_co_____, (73.235,2.955)))
c_routeb_new_1w1r_20x64_pr.add(gdstk.Label('en_bar', (37.942,0.125), layer=70, texttype=5))
c_routeb_new_1w1r_20x64_pr.add(gdstk.Label('bl_0', (10.435,1.805), layer=68, texttype=5))
c_routeb_new_1w1r_20x64_pr.add(gdstk.Label('br_0', (12.755,1.805), layer=68, texttype=5))
c_routeb_new_1w1r_20x64_pr.add(gdstk.Label('bl_1', (15.875,1.805), layer=68, texttype=5))
c_routeb_new_1w1r_20x64_pr.add(gdstk.Label('br_1', (13.555,1.805), layer=68, texttype=5))
c_routeb_new_1w1r_20x64_pr.add(gdstk.Label('bl_2', (16.675,1.805), layer=68, texttype=5))
c_routeb_new_1w1r_20x64_pr.add(gdstk.Label('br_2', (18.995,1.805), layer=68, texttype=5))
c_routeb_new_1w1r_20x64_pr.add(gdstk.Label('bl_3', (22.115,1.805), layer=68, texttype=5))
c_routeb_new_1w1r_20x64_pr.add(gdstk.Label('br_3', (19.795,1.805), layer=68, texttype=5))
c_routeb_new_1w1r_20x64_pr.add(gdstk.Label('bl_4', (22.915,1.805), layer=68, texttype=5))
c_routeb_new_1w1r_20x64_pr.add(gdstk.Label('br_4', (25.235,1.805), layer=68, texttype=5))
c_routeb_new_1w1r_20x64_pr.add(gdstk.Label('bl_5', (28.355,1.805), layer=68, texttype=5))
c_routeb_new_1w1r_20x64_pr.add(gdstk.Label('br_5', (26.035,1.805), layer=68, texttype=5))
c_routeb_new_1w1r_20x64_pr.add(gdstk.Label('bl_6', (29.155,1.805), layer=68, texttype=5))
c_routeb_new_1w1r_20x64_pr.add(gdstk.Label('br_6', (31.475,1.805), layer=68, texttype=5))
c_routeb_new_1w1r_20x64_pr.add(gdstk.Label('bl_7', (34.595,1.805), layer=68, texttype=5))
c_routeb_new_1w1r_20x64_pr.add(gdstk.Label('br_7', (32.275,1.805), layer=68, texttype=5))
c_routeb_new_1w1r_20x64_pr.add(gdstk.Label('bl_8', (35.395,1.805), layer=68, texttype=5))
c_routeb_new_1w1r_20x64_pr.add(gdstk.Label('br_8', (37.715,1.805), layer=68, texttype=5))
c_routeb_new_1w1r_20x64_pr.add(gdstk.Label('bl_9', (40.835,1.805), layer=68, texttype=5))
c_routeb_new_1w1r_20x64_pr.add(gdstk.Label('br_9', (38.515,1.805), layer=68, texttype=5))
c_routeb_new_1w1r_20x64_pr.add(gdstk.Label('bl_10', (41.635,1.805), layer=68, texttype=5))
c_routeb_new_1w1r_20x64_pr.add(gdstk.Label('br_10', (43.955,1.805), layer=68, texttype=5))
c_routeb_new_1w1r_20x64_pr.add(gdstk.Label('bl_11', (47.075,1.805), layer=68, texttype=5))
c_routeb_new_1w1r_20x64_pr.add(gdstk.Label('br_11', (44.755,1.805), layer=68, texttype=5))
c_routeb_new_1w1r_20x64_pr.add(gdstk.Label('bl_12', (47.875,1.805), layer=68, texttype=5))
c_routeb_new_1w1r_20x64_pr.add(gdstk.Label('br_12', (50.195,1.805), layer=68, texttype=5))
c_routeb_new_1w1r_20x64_pr.add(gdstk.Label('bl_13', (53.315,1.805), layer=68, texttype=5))
c_routeb_new_1w1r_20x64_pr.add(gdstk.Label('br_13', (50.995,1.805), layer=68, texttype=5))
c_routeb_new_1w1r_20x64_pr.add(gdstk.Label('bl_14', (54.115,1.805), layer=68, texttype=5))
c_routeb_new_1w1r_20x64_pr.add(gdstk.Label('br_14', (56.435,1.805), layer=68, texttype=5))
c_routeb_new_1w1r_20x64_pr.add(gdstk.Label('bl_15', (59.555,1.805), layer=68, texttype=5))
c_routeb_new_1w1r_20x64_pr.add(gdstk.Label('br_15', (57.235,1.805), layer=68, texttype=5))
c_routeb_new_1w1r_20x64_pr.add(gdstk.Label('bl_16', (60.355,1.805), layer=68, texttype=5))
c_routeb_new_1w1r_20x64_pr.add(gdstk.Label('br_16', (62.675,1.805), layer=68, texttype=5))
c_routeb_new_1w1r_20x64_pr.add(gdstk.Label('bl_17', (65.795,1.805), layer=68, texttype=5))
c_routeb_new_1w1r_20x64_pr.add(gdstk.Label('br_17', (63.475,1.805), layer=68, texttype=5))
c_routeb_new_1w1r_20x64_pr.add(gdstk.Label('bl_18', (66.595,1.805), layer=68, texttype=5))
c_routeb_new_1w1r_20x64_pr.add(gdstk.Label('br_18', (68.915,1.805), layer=68, texttype=5))
c_routeb_new_1w1r_20x64_pr.add(gdstk.Label('bl_19', (72.035,1.805), layer=68, texttype=5))
c_routeb_new_1w1r_20x64_pr.add(gdstk.Label('br_19', (69.715,1.805), layer=68, texttype=5))
c_routeb_new_1w1r_20x64_pr.add(gdstk.Label('bl_20', (72.835,1.805), layer=68, texttype=5))
c_routeb_new_1w1r_20x64_pr.add(gdstk.Label('br_20', (75.155,1.805), layer=68, texttype=5))
c_routeb_new_1w1r_20x64_pr.add(gdstk.Label('vdd', (37.942,3.14), layer=70, texttype=5))

lib.write_gds('routeb_new_1w1r_20x64_precharge_array_0.gds')
